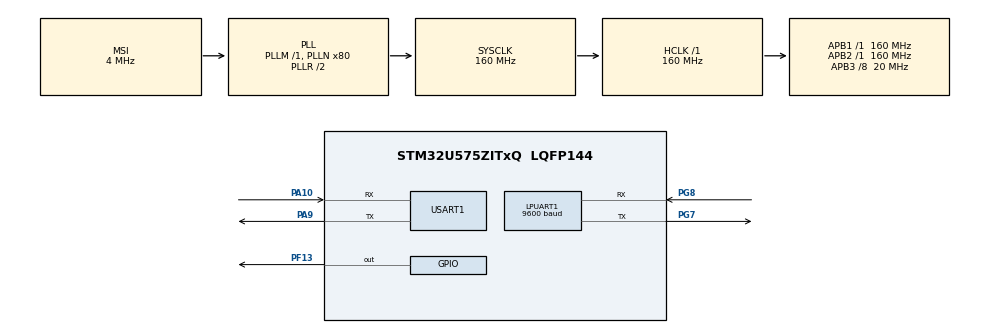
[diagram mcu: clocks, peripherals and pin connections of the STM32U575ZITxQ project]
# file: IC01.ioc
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CORTEX_M33_NS.userName=CORTEX_M33
LPUART1.BaudRate=9600
Mcu.Family=STM32U5
Mcu.Name=STM32U575ZITxQ
Mcu.Package=LQFP144
NVIC.LPUART1_IRQn=true\:0\:0\:false\:false\:true\:true\:true\:true
NVIC.PriorityGroup=NVIC_PRIORITYGROUP_3
NVIC.USART1_IRQn=true\:0\:0\:false\:false\:true\:true\:true\:true
PA10.Mode=Asynchronous
PA10.Signal=USART1_RX
PA9.Mode=Asynchronous
PA9.Signal=USART1_TX
PF13.Signal=GPIO_Output
PG7.Mode=Asynchronous
PG7.Signal=LPUART1_TX
PG8.Mode=Asynchronous
PG8.Signal=LPUART1_RX
ProjectManager.HeapSize=0x800
ProjectManager.StackSize=0x800
ProjectManager.TargetToolchain=STM32CubeIDE
RCC.ADCFreq_Value=16000000
RCC.AHBFreq_Value=160000000
RCC.APB1Freq_Value=160000000
RCC.APB1TimFreq_Value=160000000
RCC.APB2Freq_Value=160000000
RCC.APB2TimFreq_Value=160000000
RCC.APB3CLKDivider=RCC_HCLK_DIV8
RCC.APB3Freq_Value=20000000
RCC.CortexFreq_Value=160000000
RCC.DACCLockSelectionVirtual=RCC_DAC1CLKSOURCE_LSI
RCC.EPOD_VALUE=4000000
RCC.HCLKFreq_Value=160000000
RCC.HSE_VALUE=16000000
RCC.HSI48_VALUE=48000000
RCC.HSI_VALUE=16000000
RCC.LSE_VALUE=32768
RCC.LSIDIV_VALUE=32000
RCC.MSI_VALUE=4000000
RCC.PLLN=80
RCC.SYSCLKFreq_VALUE=160000000
RCC.SYSCLKSource=RCC_SYSCLKSOURCE_PLLCLK
RCC.USBFreq_Value=48000000
RCC.VCOOutputFreq_Value=320000000
STMicroelectronics.X-CUBE-AI.8.1.0.ActivationBufferSizeList=63908
STMicroelectronics.X-CUBE-AI.8.1.0.ActivationBuffers=pool0
STMicroelectronics.X-CUBE-AI.8.1.0.ActivationNames=pool0
STMicroelectronics.X-CUBE-AI.8.1.0.ActivationSizes=AI_NETWORK_DATA_ACTIVATION_1_SIZE
STMicroelectronics.X-CUBE-AI.8.1.0.HeapSize=0x800
STMicroelectronics.X-CUBE-AI.8.1.0.InternalRamActivationBufferMaxSize=AI_NETWORK_DATA_ACTIVATIONS_SIZE
STMicroelectronics.X-CUBE-AI.8.1.0.LatestDirectoryUsed-2c9fa43744daabb88d108daa043fa22099810dad5850caf263817e68c536bace=/home/fred/Desktop/3it/tiny_results_v1.1/closed/STMicroelectronics/code/NUCLEO_U575ZI_Q/image_classification
STMicroelectronics.X-CUBE-AI.8.1.0.MaximumNumberOfInputLayer=1
STMicroelectronics.X-CUBE-AI.8.1.0.MaximumNumberOfOutputLayer=1
STMicroelectronics.X-CUBE-AI.8.1.0.MaximumSizeOfInputLayer=1
STMicroelectronics.X-CUBE-AI.8.1.0.MaximumSizeOfOutputLayer=1
STMicroelectronics.X-CUBE-AI.8.1.0.ModelActualCompression-2c9fa43744daabb88d108daa043fa22099810dad5850caf263817e68c536bace=0.0
STMicroelectronics.X-CUBE-AI.8.1.0.ModelCompression-2c9fa43744daabb88d108daa043fa22099810dad5850caf263817e68c536bace=None
STMicroelectronics.X-CUBE-AI.8.1.0.ModelFlashOccupation-2c9fa43744daabb88d108daa043fa22099810dad5850caf263817e68c536bace=126093
STMicroelectronics.X-CUBE-AI.8.1.0.ModelHashList=2c9fa43744daabb88d108daa043fa22099810dad5850caf263817e68c536bace
STMicroelectronics.X-CUBE-AI.8.1.0.ModelKind-2c9fa43744daabb88d108daa043fa22099810dad5850caf263817e68c536bace=TFLITE
STMicroelectronics.X-CUBE-AI.8.1.0.ModelMacc-2c9fa43744daabb88d108daa043fa22099810dad5850caf263817e68c536bace=12534896
STMicroelectronics.X-CUBE-AI.8.1.0.ModelName-2c9fa43744daabb88d108daa043fa22099810dad5850caf263817e68c536bace=network
STMicroelectronics.X-CUBE-AI.8.1.0.ModelNameList=network
STMicroelectronics.X-CUBE-AI.8.1.0.ModelRamOccupation-2c9fa43744daabb88d108daa043fa22099810dad5850caf263817e68c536bace=63908
STMicroelectronics.X-CUBE-AI.8.1.0.ModelStructureFile-2c9fa43744daabb88d108daa043fa22099810dad5850caf263817e68c536bace=pretrainedResnet_quant.tflite
STMicroelectronics.X-CUBE-AI.8.1.0.ModelType-2c9fa43744daabb88d108daa043fa22099810dad5850caf263817e68c536bace=STM32Cube.AI runtime
STMicroelectronics.X-CUBE-AI.8.1.0.ReadyForCodeGeneration=true
STMicroelectronics.X-CUBE-AI.8.1.0.StackSize=0x800
STMicroelectronics.X-CUBE-AI.8.1.0.WorkingBufferStartAddrList=0xFFFFFFFF
STMicroelectronics.X-CUBE-AI.8.1.0.XAaCUBEAaAICcArtificialOoIntelligenceJjCore=true
STMicroelectronics.X-CUBE-AI.8.1.0.copyWeightToRam-2c9fa43744daabb88d108daa043fa22099810dad5850caf263817e68c536bace=false
STMicroelectronics.X-CUBE-AI.8.1.0.customLayerConfigEnabled-2c9fa43744daabb88d108daa043fa22099810dad5850caf263817e68c536bace=false
STMicroelectronics.X-CUBE-AI.8.1.0.extraOptions-2c9fa43744daabb88d108daa043fa22099810dad5850caf263817e68c536bace=-O time
STMicroelectronics.X-CUBE-AI.8.1.0.noOnnxIoTranspose-2c9fa43744daabb88d108daa043fa22099810dad5850caf263817e68c536bace=false
STMicroelectronics.X-CUBE-AI.8.1.0.optimization-2c9fa43744daabb88d108daa043fa22099810dad5850caf263817e68c536bace=time
STMicroelectronics.X-CUBE-AI.8.1.0.useInputAllocation-2c9fa43744daabb88d108daa043fa22099810dad5850caf263817e68c536bace=true
STMicroelectronics.X-CUBE-AI.8.1.0.useOutputAllocation-2c9fa43744daabb88d108daa043fa22099810dad5850caf263817e68c536bace=true
TIM5.PeriodNoDither=4294967294
TIM5.Prescaler=159
USART1.VirtualMode-Asynchronous=VM_ASYNC
VP_CRC_VS_CRC.Mode=CRC_Activate
VP_DCACHE1_VS_DCACHE.Mode=DCACHE_Activate
VP_ICACHE_VS_ICACHE.Mode=DefaultMode
VP_PWR_VS_DBSignals.Mode=DisableDeadBatterySignals
VP_PWR_VS_SECSignals.Mode=Security/Privilege
VP_STMicroelectronics.X-CUBE-AI_VS_ArtificialOoIntelligenceJjXAaCUBEAaAI_8.1.0.Mode=ArtificialOoIntelligenceJjXAaCUBEAaAI
VP_TIM5_VS_ClockSourceINT.Mode=Internal
board=NUCLEO-U575ZI-Q

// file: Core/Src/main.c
/* USER CODE BEGIN Header */
/**
  ******************************************************************************
  * @file           : main.c
  * @brief          : Main program body
  ******************************************************************************
  * @attention
  *
  * Copyright (c) 2024 STMicroelectronics.
  * All rights reserved.
  *
  * This software is licensed under terms that can be found in the LICENSE file
  * in the root directory of this software component.
  * If no LICENSE file comes with this software, it is provided AS-IS.
  *
  ******************************************************************************
  */
/* USER CODE END Header */
#include "main.h"

/* USER CODE BEGIN Includes */
#include "submitter_implemented.h"
/* USER CODE END Includes */

CRC_HandleTypeDef hcrc;

DCACHE_HandleTypeDef hdcache1;

UART_HandleTypeDef hlpuart1;
UART_HandleTypeDef huart1;

TIM_HandleTypeDef htim5;

void SystemClock_Config(void);
static void SystemPower_Config(void);
static void MX_GPIO_Init(void);
static void MX_CRC_Init(void);
static void MX_DCACHE1_Init(void);
static void MX_ICACHE_Init(void);
static void MX_LPUART1_UART_Init(void);
static void MX_USART1_UART_Init(void);
static void MX_TIM5_Init(void);

int main(void)
{

  /* MCU Configuration--------------------------------------------------------*/

  /* Reset of all peripherals, Initializes the Flash interface and the Systick. */
  HAL_Init();

  /* Configure the system clock */
  SystemClock_Config();

  /* Configure the System Power */
  SystemPower_Config();

  /* Initialize all configured peripherals */
    /* USER CODE BEGIN 2 */
    MX_GPIO_Init();
    MX_CRC_Init();
    MX_DCACHE1_Init();
    MX_ICACHE_Init();
  #if EE_CFG_ENERGY_MODE == 1
    MX_LPUART1_UART_Init();
  #else
    MX_USART1_UART_Init();
  #endif

  #if EE_CFG_ENERGY_MODE == 0
    __HAL_UART_ENABLE_IT(&huart1,UART_IT_RXNE);
  #else
    __HAL_UART_ENABLE_IT(&hlpuart1,UART_IT_RXNE);
  #endif

    MX_TIM5_Init();
    HAL_TIM_Base_Start(&htim5);
    ee_benchmark_initialize();
    /* USER CODE END 2 */

  /* Infinite loop */
  while (1)
  {

  }
}

void SystemClock_Config(void)
{
  RCC_OscInitTypeDef RCC_OscInitStruct = {0};
  RCC_ClkInitTypeDef RCC_ClkInitStruct = {0};

  /** Configure the main internal regulator output voltage
  */
  if (HAL_PWREx_ControlVoltageScaling(PWR_REGULATOR_VOLTAGE_SCALE1) != HAL_OK)
  {
    Error_Handler();
  }

  /** Initializes the CPU, AHB and APB buses clocks
  */
  RCC_OscInitStruct.OscillatorType = RCC_OSCILLATORTYPE_MSI;
  RCC_OscInitStruct.MSIState = RCC_MSI_ON;
  RCC_OscInitStruct.MSICalibrationValue = RCC_MSICALIBRATION_DEFAULT;
  RCC_OscInitStruct.MSIClockRange = RCC_MSIRANGE_4;
  RCC_OscInitStruct.PLL.PLLState = RCC_PLL_ON;
  RCC_OscInitStruct.PLL.PLLSource = RCC_PLLSOURCE_MSI;
  RCC_OscInitStruct.PLL.PLLMBOOST = RCC_PLLMBOOST_DIV1;
  RCC_OscInitStruct.PLL.PLLM = 1;
  RCC_OscInitStruct.PLL.PLLN = 80;
  RCC_OscInitStruct.PLL.PLLP = 2;
  RCC_OscInitStruct.PLL.PLLQ = 2;
  RCC_OscInitStruct.PLL.PLLR = 2;
  RCC_OscInitStruct.PLL.PLLRGE = RCC_PLLVCIRANGE_0;
  RCC_OscInitStruct.PLL.PLLFRACN = 0;
  if (HAL_RCC_OscConfig(&RCC_OscInitStruct) != HAL_OK)
  {
    Error_Handler();
  }

  /** Initializes the CPU, AHB and APB buses clocks
  */
  RCC_ClkInitStruct.ClockType = RCC_CLOCKTYPE_HCLK|RCC_CLOCKTYPE_SYSCLK
                              |RCC_CLOCKTYPE_PCLK1|RCC_CLOCKTYPE_PCLK2
                              |RCC_CLOCKTYPE_PCLK3;
  RCC_ClkInitStruct.SYSCLKSource = RCC_SYSCLKSOURCE_PLLCLK;
  RCC_ClkInitStruct.AHBCLKDivider = RCC_SYSCLK_DIV1;
  RCC_ClkInitStruct.APB1CLKDivider = RCC_HCLK_DIV1;
  RCC_ClkInitStruct.APB2CLKDivider = RCC_HCLK_DIV1;
  RCC_ClkInitStruct.APB3CLKDivider = RCC_HCLK_DIV8;

  if (HAL_RCC_ClockConfig(&RCC_ClkInitStruct, FLASH_LATENCY_4) != HAL_OK)
  {
    Error_Handler();
  }
}

/**
  * @brief Power Configuration
  * @retval None
  */
static void SystemPower_Config(void)
{
  HAL_PWREx_EnableVddIO2();

  /*
   * Disable the internal Pull-Up in Dead Battery pins of UCPD peripheral
   */
  HAL_PWREx_DisableUCPDDeadBattery();
}

static void MX_CRC_Init(void)
{

  hcrc.Instance = CRC;
  hcrc.Init.DefaultPolynomialUse = DEFAULT_POLYNOMIAL_ENABLE;
  hcrc.Init.DefaultInitValueUse = DEFAULT_INIT_VALUE_ENABLE;
  hcrc.Init.InputDataInversionMode = CRC_INPUTDATA_INVERSION_NONE;
  hcrc.Init.OutputDataInversionMode = CRC_OUTPUTDATA_INVERSION_DISABLE;
  hcrc.InputDataFormat = CRC_INPUTDATA_FORMAT_BYTES;
  if (HAL_CRC_Init(&hcrc) != HAL_OK)
  {
    Error_Handler();
  }

}

static void MX_DCACHE1_Init(void)
{

  hdcache1.Instance = DCACHE1;
  hdcache1.Init.ReadBurstType = DCACHE_READ_BURST_WRAP;
  if (HAL_DCACHE_Init(&hdcache1) != HAL_OK)
  {
    Error_Handler();
  }

}

static void MX_ICACHE_Init(void)
{

  /** Enable instruction cache (default 2-ways set associative cache)
  */
  if (HAL_ICACHE_Enable() != HAL_OK)
  {
    Error_Handler();
  }

}

static void MX_LPUART1_UART_Init(void)
{

  hlpuart1.Instance = LPUART1;
  hlpuart1.Init.BaudRate = 9600;
  hlpuart1.Init.WordLength = UART_WORDLENGTH_8B;
  hlpuart1.Init.StopBits = UART_STOPBITS_1;
  hlpuart1.Init.Parity = UART_PARITY_NONE;
  hlpuart1.Init.Mode = UART_MODE_TX_RX;
  hlpuart1.Init.HwFlowCtl = UART_HWCONTROL_NONE;
  hlpuart1.Init.OneBitSampling = UART_ONE_BIT_SAMPLE_DISABLE;
  hlpuart1.AdvancedInit.AdvFeatureInit = UART_ADVFEATURE_NO_INIT;
  hlpuart1.FifoMode = UART_FIFOMODE_DISABLE;
  if (HAL_UART_Init(&hlpuart1) != HAL_OK)
  {
    Error_Handler();
  }
  if (HAL_UARTEx_SetTxFifoThreshold(&hlpuart1, UART_TXFIFO_THRESHOLD_1_8) != HAL_OK)
  {
    Error_Handler();
  }
  if (HAL_UARTEx_SetRxFifoThreshold(&hlpuart1, UART_RXFIFO_THRESHOLD_1_8) != HAL_OK)
  {
    Error_Handler();
  }
  if (HAL_UARTEx_DisableFifoMode(&hlpuart1) != HAL_OK)
  {
    Error_Handler();
  }

}

static void MX_USART1_UART_Init(void)
{

  huart1.Instance = USART1;
  huart1.Init.BaudRate = 115200;
  huart1.Init.WordLength = UART_WORDLENGTH_8B;
  huart1.Init.StopBits = UART_STOPBITS_1;
  huart1.Init.Parity = UART_PARITY_NONE;
  huart1.Init.Mode = UART_MODE_TX_RX;
  huart1.Init.HwFlowCtl = UART_HWCONTROL_NONE;
  huart1.Init.OverSampling = UART_OVERSAMPLING_16;
  huart1.Init.OneBitSampling = UART_ONE_BIT_SAMPLE_DISABLE;
  huart1.Init.ClockPrescaler = UART_PRESCALER_DIV1;
  huart1.AdvancedInit.AdvFeatureInit = UART_ADVFEATURE_NO_INIT;
  if (HAL_UART_Init(&huart1) != HAL_OK)
  {
    Error_Handler();
  }
  if (HAL_UARTEx_SetTxFifoThreshold(&huart1, UART_TXFIFO_THRESHOLD_1_8) != HAL_OK)
  {
    Error_Handler();
  }
  if (HAL_UARTEx_SetRxFifoThreshold(&huart1, UART_RXFIFO_THRESHOLD_1_8) != HAL_OK)
  {
    Error_Handler();
  }
  if (HAL_UARTEx_DisableFifoMode(&huart1) != HAL_OK)
  {
    Error_Handler();
  }

}

static void MX_TIM5_Init(void)
{

  TIM_ClockConfigTypeDef sClockSourceConfig = {0};
  TIM_MasterConfigTypeDef sMasterConfig = {0};

  htim5.Instance = TIM5;
  htim5.Init.Prescaler = 159;
  htim5.Init.CounterMode = TIM_COUNTERMODE_UP;
  htim5.Init.Period = 4294967294;
  htim5.Init.ClockDivision = TIM_CLOCKDIVISION_DIV1;
  htim5.Init.AutoReloadPreload = TIM_AUTORELOAD_PRELOAD_DISABLE;
  if (HAL_TIM_Base_Init(&htim5) != HAL_OK)
  {
    Error_Handler();
  }
  sClockSourceConfig.ClockSource = TIM_CLOCKSOURCE_INTERNAL;
  if (HAL_TIM_ConfigClockSource(&htim5, &sClockSourceConfig) != HAL_OK)
  {
    Error_Handler();
  }
  sMasterConfig.MasterOutputTrigger = TIM_TRGO_RESET;
  sMasterConfig.MasterSlaveMode = TIM_MASTERSLAVEMODE_DISABLE;
  if (HAL_TIMEx_MasterConfigSynchronization(&htim5, &sMasterConfig) != HAL_OK)
  {
    Error_Handler();
  }

}

static void MX_GPIO_Init(void)
{
  GPIO_InitTypeDef GPIO_InitStruct = {0};

  /* GPIO Ports Clock Enable */
  __HAL_RCC_GPIOE_CLK_ENABLE();
  __HAL_RCC_GPIOC_CLK_ENABLE();
  __HAL_RCC_GPIOF_CLK_ENABLE();
  __HAL_RCC_GPIOH_CLK_ENABLE();
  __HAL_RCC_GPIOA_CLK_ENABLE();
  __HAL_RCC_GPIOB_CLK_ENABLE();
  __HAL_RCC_GPIOG_CLK_ENABLE();
  __HAL_RCC_GPIOD_CLK_ENABLE();

  /*Configure GPIO pin Output Level */
  HAL_GPIO_WritePin(GPIOF, GPIO_PIN_13, GPIO_PIN_RESET);

  /*Configure GPIO pins : PE2 PE3 PE4 PE5
                           PE6 PE7 PE8 PE9
                           PE10 PE11 PE12 PE13
                           PE14 PE15 PE0 PE1 */
  GPIO_InitStruct.Pin = GPIO_PIN_2|GPIO_PIN_3|GPIO_PIN_4|GPIO_PIN_5
                          |GPIO_PIN_6|GPIO_PIN_7|GPIO_PIN_8|GPIO_PIN_9
                          |GPIO_PIN_10|GPIO_PIN_11|GPIO_PIN_12|GPIO_PIN_13
                          |GPIO_PIN_14|GPIO_PIN_15|GPIO_PIN_0|GPIO_PIN_1;
  GPIO_InitStruct.Mode = GPIO_MODE_ANALOG;
  GPIO_InitStruct.Pull = GPIO_NOPULL;
  HAL_GPIO_Init(GPIOE, &GPIO_InitStruct);

  /*Configure GPIO pins : PC13 PC14 PC15 PC0
                           PC1 PC2 PC3 PC6
                           PC7 PC8 PC9 PC10
                           PC11 PC12 */
  GPIO_InitStruct.Pin = GPIO_PIN_13|GPIO_PIN_14|GPIO_PIN_15|GPIO_PIN_0
                          |GPIO_PIN_1|GPIO_PIN_2|GPIO_PIN_3|GPIO_PIN_6
                          |GPIO_PIN_7|GPIO_PIN_8|GPIO_PIN_9|GPIO_PIN_10
                          |GPIO_PIN_11|GPIO_PIN_12;
  GPIO_InitStruct.Mode = GPIO_MODE_ANALOG;
  GPIO_InitStruct.Pull = GPIO_NOPULL;
  HAL_GPIO_Init(GPIOC, &GPIO_InitStruct);

  /*Configure GPIO pins : PF0 PF1 PF2 PF3
                           PF4 PF5 PF6 PF7
                           PF8 PF9 PF10 PF11
                           PF12 PF14 PF15 */
  GPIO_InitStruct.Pin = GPIO_PIN_0|GPIO_PIN_1|GPIO_PIN_2|GPIO_PIN_3
                          |GPIO_PIN_4|GPIO_PIN_5|GPIO_PIN_6|GPIO_PIN_7
                          |GPIO_PIN_8|GPIO_PIN_9|GPIO_PIN_10|GPIO_PIN_11
                          |GPIO_PIN_12|GPIO_PIN_14|GPIO_PIN_15;
  GPIO_InitStruct.Mode = GPIO_MODE_ANALOG;
  GPIO_InitStruct.Pull = GPIO_NOPULL;
  HAL_GPIO_Init(GPIOF, &GPIO_InitStruct);

  /*Configure GPIO pins : PH0 PH1 PH3 */
  GPIO_InitStruct.Pin = GPIO_PIN_0|GPIO_PIN_1|GPIO_PIN_3;
  GPIO_InitStruct.Mode = GPIO_MODE_ANALOG;
  GPIO_InitStruct.Pull = GPIO_NOPULL;
  HAL_GPIO_Init(GPIOH, &GPIO_InitStruct);

  /*Configure GPIO pins : PA0 PA1 PA2 PA3
                           PA4 PA5 PA6 PA7
                           PA8 PA11 PA12 PA13
                           PA14 PA15 */
  GPIO_InitStruct.Pin = GPIO_PIN_0|GPIO_PIN_1|GPIO_PIN_2|GPIO_PIN_3
                          |GPIO_PIN_4|GPIO_PIN_5|GPIO_PIN_6|GPIO_PIN_7
                          |GPIO_PIN_8|GPIO_PIN_11|GPIO_PIN_12|GPIO_PIN_13
                          |GPIO_PIN_14|GPIO_PIN_15;
  GPIO_InitStruct.Mode = GPIO_MODE_ANALOG;
  GPIO_InitStruct.Pull = GPIO_NOPULL;
  HAL_GPIO_Init(GPIOA, &GPIO_InitStruct);

  /*Configure GPIO pins : PB0 PB1 PB2 PB10
                           PB11 PB13 PB14 PB15
                           PB3 PB4 PB5 PB6
                           PB7 PB8 PB9 */
  GPIO_InitStruct.Pin = GPIO_PIN_0|GPIO_PIN_1|GPIO_PIN_2|GPIO_PIN_10
                          |GPIO_PIN_11|GPIO_PIN_13|GPIO_PIN_14|GPIO_PIN_15
                          |GPIO_PIN_3|GPIO_PIN_4|GPIO_PIN_5|GPIO_PIN_6
                          |GPIO_PIN_7|GPIO_PIN_8|GPIO_PIN_9;
  GPIO_InitStruct.Mode = GPIO_MODE_ANALOG;
  GPIO_InitStruct.Pull = GPIO_NOPULL;
  HAL_GPIO_Init(GPIOB, &GPIO_InitStruct);

  /*Configure GPIO pin : PF13 */
  GPIO_InitStruct.Pin = GPIO_PIN_13;
  GPIO_InitStruct.Mode = GPIO_MODE_OUTPUT_PP;
  GPIO_InitStruct.Pull = GPIO_NOPULL;
  GPIO_InitStruct.Speed = GPIO_SPEED_FREQ_LOW;
  HAL_GPIO_Init(GPIOF, &GPIO_InitStruct);

  /*Configure GPIO pins : PG0 PG1 PG2 PG3
                           PG4 PG5 PG6 PG9
                           PG10 PG12 PG13 PG14
                           PG15 */
  GPIO_InitStruct.Pin = GPIO_PIN_0|GPIO_PIN_1|GPIO_PIN_2|GPIO_PIN_3
                          |GPIO_PIN_4|GPIO_PIN_5|GPIO_PIN_6|GPIO_PIN_9
                          |GPIO_PIN_10|GPIO_PIN_12|GPIO_PIN_13|GPIO_PIN_14
                          |GPIO_PIN_15;
  GPIO_InitStruct.Mode = GPIO_MODE_ANALOG;
  GPIO_InitStruct.Pull = GPIO_NOPULL;
  HAL_GPIO_Init(GPIOG, &GPIO_InitStruct);

  /*Configure GPIO pins : PD8 PD9 PD10 PD11
                           PD12 PD13 PD14 PD15
                           PD0 PD1 PD2 PD3
                           PD4 PD5 PD6 PD7 */
  GPIO_InitStruct.Pin = GPIO_PIN_8|GPIO_PIN_9|GPIO_PIN_10|GPIO_PIN_11
                          |GPIO_PIN_12|GPIO_PIN_13|GPIO_PIN_14|GPIO_PIN_15
                          |GPIO_PIN_0|GPIO_PIN_1|GPIO_PIN_2|GPIO_PIN_3
                          |GPIO_PIN_4|GPIO_PIN_5|GPIO_PIN_6|GPIO_PIN_7;
  GPIO_InitStruct.Mode = GPIO_MODE_ANALOG;
  GPIO_InitStruct.Pull = GPIO_NOPULL;
  HAL_GPIO_Init(GPIOD, &GPIO_InitStruct);

}

void Error_Handler(void)
{
  __disable_irq();
  while (1)
  {
  }
}
